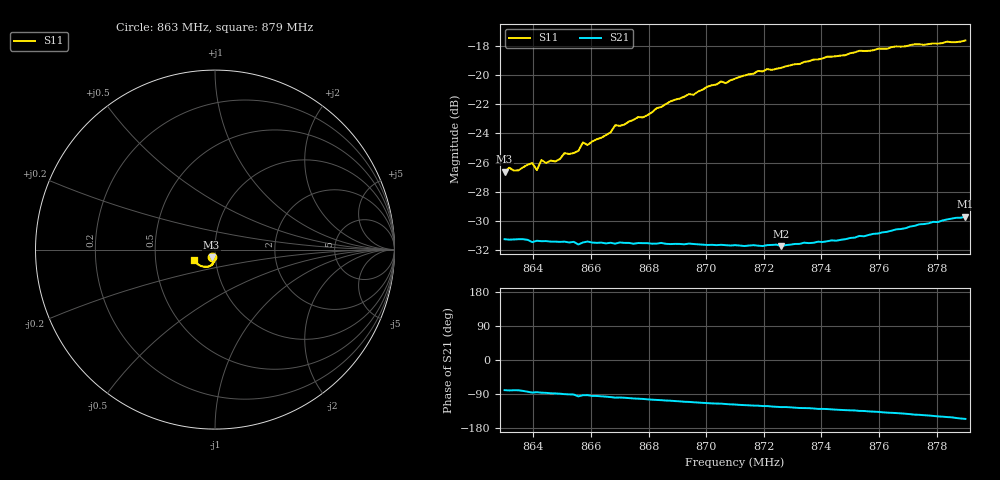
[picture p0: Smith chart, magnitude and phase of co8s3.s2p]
# HZ S RI R 50
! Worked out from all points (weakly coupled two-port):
!   101 points, 863 MHz to 879 MHz, reference 50 ohm
!   highest |S21| = -29.72 dB at 879 MHz (marker M1); lowest = -31.7 dB at 872.6 MHz (marker M2)
!   lowest |S11| = -26.6 dB at 863 MHz (marker M3), VSWR 1.10, Z = 47.9 - j4.08 ohm
!   |S11| at or under -10 dB: start of sweep to end of sweep
!   S12 and S22 are empty: the file has one direction only
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8.63e8  -0.0192 -0.0425  0.00494 -0.0269  0 0  0 0
8.6316e8  -0.0196 -0.0439  0.0046 -0.0269  0 0  0 0
8.6348e8  -0.0149 -0.0447  0.00479 -0.0269  0 0  0 0
8.6396e8  -0.0148 -0.0477  0.00187 -0.0267  0 0  0 0
8.6412e8  -0.00934 -0.0463  0.00239 -0.0269  0 0  0 0
8.6428e8  -0.0119 -0.0497  0.00175 -0.0269  0 0  0 0
8.6444e8  -0.0129 -0.0482  0.00157 -0.0269  0 0  0 0
8.6476e8  -0.00946 -0.0496  0.000831 -0.0268  0 0  0 0
8.6508e8  -0.00936 -0.0532  -4.7e-05 -0.0268  0 0  0 0
8.6556e8  -0.00746 -0.0545  -0.00273 -0.0261  0 0  0 0
8.6572e8  -0.00849 -0.0581  -0.00139 -0.0266  0 0  0 0
8.6588e8  -0.00605 -0.0572  -0.0013 -0.0268  0 0  0 0
8.6668e8  -0.00607 -0.0633  -0.00365 -0.0263  0 0  0 0
8.6684e8  -0.00882 -0.0667  -0.00425 -0.026  0 0  0 0
8.678e8  -0.00872 -0.071  -0.00583 -0.0259  0 0  0 0
8.6844e8  -0.0109 -0.0769  -0.00732 -0.0255  0 0  0 0
8.7004e8  -0.0222 -0.0885  -0.0105 -0.0239  0 0  0 0
8.71e8  -0.0301 -0.0924  -0.012 -0.0231  0 0  0 0
8.726e8  -0.0471 -0.0948  -0.0146 -0.0214  0 0  0 0
8.7372e8  -0.0596 -0.096  -0.0163 -0.021  0 0  0 0
8.7644e8  -0.0917 -0.0845  -0.0222 -0.019  0 0  0 0
8.79e8  -0.1177 -0.0586  -0.0297 -0.0136  0 0  0 0
